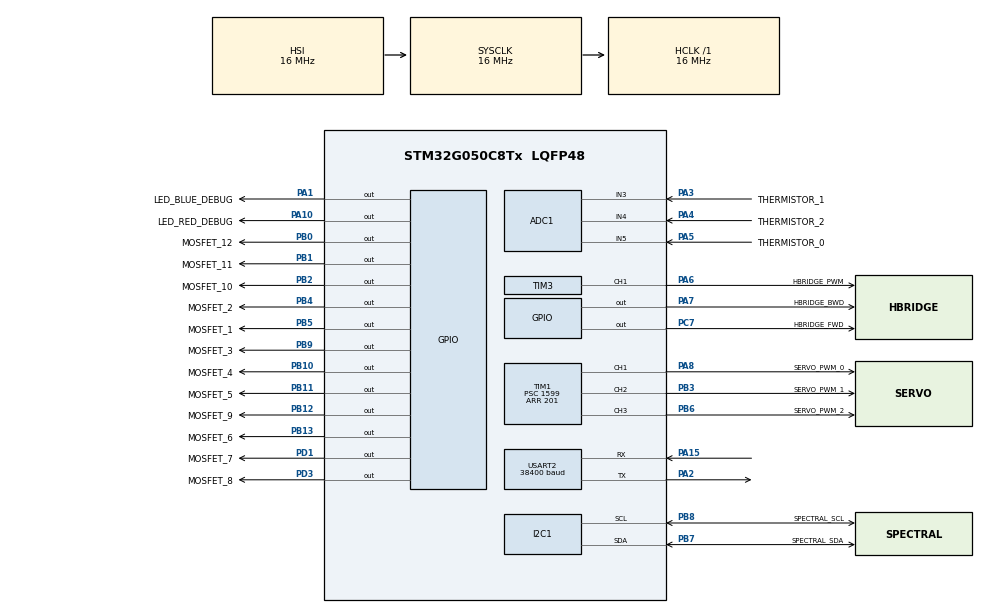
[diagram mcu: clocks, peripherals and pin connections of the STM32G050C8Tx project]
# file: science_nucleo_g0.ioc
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ADC1.Channel-0\#ChannelRegularConversion=ADC_CHANNEL_3
ADC1.Channel-1\#ChannelRegularConversion=ADC_CHANNEL_4
ADC1.Channel-2\#ChannelRegularConversion=ADC_CHANNEL_5
ADC1.ContinuousConvMode=DISABLE
ADC1.NbrOfConversion=3
ADC1.NbrOfConversionFlag=1
ADC1.Rank-0\#ChannelRegularConversion=1
ADC1.Rank-1\#ChannelRegularConversion=2
ADC1.Rank-2\#ChannelRegularConversion=3
ADC1.SamplingTime-0\#ChannelRegularConversion=ADC_SAMPLINGTIME_COMMON_1
ADC1.SamplingTime-1\#ChannelRegularConversion=ADC_SAMPLINGTIME_COMMON_1
ADC1.SamplingTime-2\#ChannelRegularConversion=ADC_SAMPLINGTIME_COMMON_1
ADC1.SelectedChannel=ADC_CHANNEL_3|ADC_CHANNEL_4|ADC_CHANNEL_5
ADC1.master=1
Dma.ADC1.0.Direction=DMA_PERIPH_TO_MEMORY
Dma.ADC1.0.EventEnable=DISABLE
Dma.ADC1.0.Instance=DMA1_Channel1
Dma.ADC1.0.MemDataAlignment=DMA_MDATAALIGN_WORD
Dma.ADC1.0.MemInc=DMA_MINC_ENABLE
Dma.ADC1.0.Mode=DMA_CIRCULAR
Dma.ADC1.0.PeriphDataAlignment=DMA_PDATAALIGN_WORD
Dma.ADC1.0.PeriphInc=DMA_PINC_DISABLE
Dma.ADC1.0.Polarity=HAL_DMAMUX_REQ_GEN_RISING
Dma.ADC1.0.Priority=DMA_PRIORITY_LOW
Dma.ADC1.0.RequestNumber=1
Dma.ADC1.0.SignalID=NONE
Dma.ADC1.0.SyncEnable=DISABLE
Dma.ADC1.0.SyncPolarity=HAL_DMAMUX_SYNC_NO_EVENT
Dma.ADC1.0.SyncRequestNumber=1
Dma.ADC1.0.SyncSignalID=NONE
Dma.Request0=ADC1
Mcu.Family=STM32G0
Mcu.Name=STM32G050C8Tx
Mcu.Package=LQFP48
NVIC.DMA1_Channel1_IRQn=true\:0\:0\:false\:false\:true\:false\:true\:true
NVIC.TIM6_IRQn=true\:0\:0\:false\:false\:true\:true\:true\:true
NVIC.USART2_IRQn=true\:0\:0\:false\:false\:true\:true\:true\:true
PA1.GPIO_Label=LED_BLUE_DEBUG
PA1.Signal=GPIO_Output
PA10.GPIO_Label=LED_RED_DEBUG
PA10.Signal=GPIO_Output
PA13.Mode=Serial_Wire
PA13.Signal=SYS_SWDIO
PA14-BOOT0.Mode=Serial_Wire
PA14-BOOT0.Signal=SYS_SWCLK
PA15.Mode=Asynchronous
PA15.Signal=USART2_RX
PA2.Mode=Asynchronous
PA2.Signal=USART2_TX
PA3.GPIO_Label=THERMISTOR_1
PA3.Mode=IN3
PA3.Signal=ADC1_IN3
PA4.GPIO_Label=THERMISTOR_2
PA4.Mode=IN4
PA4.Signal=ADC1_IN4
PA5.GPIO_Label=THERMISTOR_0
PA5.Mode=IN5
PA5.Signal=ADC1_IN5
PA6.GPIO_Label=HBRIDGE_PWM
PA6.Signal=S_TIM3_CH1
PA7.GPIO_Label=HBRIDGE_BWD
PA7.Signal=GPIO_Output
PA8.GPIO_Label=SERVO_PWM_0
PA8.Signal=S_TIM1_CH1
PB0.GPIO_Label=MOSFET_12
PB0.Signal=GPIO_Output
PB1.GPIO_Label=MOSFET_11
PB1.Signal=GPIO_Output
PB10.GPIO_Label=MOSFET_4
PB10.Signal=GPIO_Output
PB11.GPIO_Label=MOSFET_5
PB11.Signal=GPIO_Output
PB12.GPIO_Label=MOSFET_9
PB12.Signal=GPIO_Output
PB13.GPIO_Label=MOSFET_6
PB13.Signal=GPIO_Output
PB2.GPIO_Label=MOSFET_10
PB2.Signal=GPIO_Output
PB3.GPIO_Label=SERVO_PWM_1
PB3.Signal=S_TIM1_CH2
PB4.GPIO_Label=MOSFET_2
PB4.Signal=GPIO_Output
PB5.GPIO_Label=MOSFET_1
PB5.Signal=GPIO_Output
PB6.GPIO_Label=SERVO_PWM_2
PB6.Signal=S_TIM1_CH3
PB7.GPIO_Label=SPECTRAL_SDA
PB7.Mode=I2C
PB7.Signal=I2C1_SDA
PB8.GPIO_Label=SPECTRAL_SCL
PB8.Mode=I2C
PB8.Signal=I2C1_SCL
PB9.GPIO_Label=MOSFET_3
PB9.Signal=GPIO_Output
PC7.GPIO_Label=HBRIDGE_FWD
PC7.Signal=GPIO_Output
PD1.GPIO_Label=MOSFET_7
PD1.Signal=GPIO_Output
PD3.GPIO_Label=MOSFET_8
PD3.Signal=GPIO_Output
ProjectManager.HeapSize=0x200
ProjectManager.StackSize=0x400
ProjectManager.TargetToolchain=STM32CubeIDE
RCC.AHBFreq_Value=16000000
RCC.CortexFreq_Value=16000000
RCC.EXTERNAL_CLOCK_VALUE=48000
RCC.HCLKFreq_Value=16000000
RCC.HSE_VALUE=8000000
RCC.HSI_VALUE=16000000
RCC.LSE_VALUE=32768
RCC.SYSCLKFreq_VALUE=16000000
RCC.VCOOutputFreq_Value=128000000
SH.S_TIM1_CH1.0=TIM1_CH1,PWM Generation1 CH1
SH.S_TIM1_CH2.0=TIM1_CH2,PWM Generation2 CH2
SH.S_TIM1_CH3.0=TIM1_CH3,PWM Generation3 CH3
SH.S_TIM3_CH1.0=TIM3_CH1,PWM Generation1 CH1
TIM1.AutoReloadPreload=TIM_AUTORELOAD_PRELOAD_ENABLE
TIM1.Channel-PWM\ Generation1\ CH1=TIM_CHANNEL_1
TIM1.Channel-PWM\ Generation2\ CH2=TIM_CHANNEL_2
TIM1.Channel-PWM\ Generation3\ CH3=TIM_CHANNEL_3
TIM1.Period=201
TIM1.Prescaler=1599
TIM3.AutoReloadPreload=TIM_AUTORELOAD_PRELOAD_ENABLE
TIM3.Channel-PWM\ Generation1\ CH1=TIM_CHANNEL_1
TIM3.Period=159
TIM3.Prescaler=3
TIM6.Period=1000
TIM6.Prescaler=15
USART2.BaudRate=38400
USART2.VirtualMode-Asynchronous=VM_ASYNC
VP_SYS_VS_DBSignals.Mode=DisableDeadBatterySignals
VP_TIM6_VS_ClockSourceINT.Mode=Enable_Timer
board=custom

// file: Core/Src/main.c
/* USER CODE BEGIN Header */
/**
  ******************************************************************************
  * @file           : main.c
  * @brief          : Main program body
  ******************************************************************************
  * @attention
  *
  * <h2><center>&copy; Copyright (c) 2021 STMicroelectronics.
  * All rights reserved.</center></h2>
  *
  * This software component is licensed by ST under BSD 3-Clause license,
  * the "License"; You may not use this file except in compliance with the
  * License. You may obtain a copy of the License at:
  *                        opensource.org/licenses/BSD-3-Clause
  *
  ******************************************************************************
  */
/* USER CODE END Header */
#include "main.h"

/* USER CODE BEGIN Includes */
#include "main_loop.h"
#include "main_preloop.h"
/* USER CODE END Includes */

 ADC_HandleTypeDef hadc1;
DMA_HandleTypeDef hdma_adc1;

I2C_HandleTypeDef hi2c1;

TIM_HandleTypeDef htim1;
TIM_HandleTypeDef htim3;
TIM_HandleTypeDef htim6;

UART_HandleTypeDef huart2;

/* USER CODE BEGIN PV */
HAL_StatusTypeDef ret;

#define HBRIDGE_TIMER &htim3;

#define JETSON_UART &huart2

//Global buffer for receiving UART commands
volatile uint8_t Rx_data[30];

//Global buffer of the last received command.
volatile uint8_t message[30];

/* USER CODE END PV */

void SystemClock_Config(void);
static void MX_GPIO_Init(void);
static void MX_DMA_Init(void);
static void MX_ADC1_Init(void);
static void MX_I2C1_Init(void);
static void MX_TIM1_Init(void);
static void MX_TIM3_Init(void);
static void MX_USART2_UART_Init(void);
static void MX_TIM6_Init(void);
/* USER CODE BEGIN PFP */

// Clears the ORE and NE flags from the uart handler with delay
// TODO add better explanation why
void clear_flags();

/* USER CODE END PFP */

/* USER CODE BEGIN 0 */

//Callback to be called after HAL_UART_RECEIVE_IT finishes getting data
void HAL_UART_RxCpltCallback(UART_HandleTypeDef *huart){
	// Disable Interrupts
	HAL_NVIC_DisableIRQ(USART2_IRQn);

	// Copy the receive buffer into the command buffer.
	memcpy(message, Rx_data, sizeof(message));
	// Save the last command
	// Enable Interrupts
	HAL_NVIC_EnableIRQ(USART2_IRQn);
	ret = HAL_UART_Receive_IT(JETSON_UART, Rx_data, 30);

	clear_flags();
//	__HAL_UART_CLEAR_FLAG(JETSON_UART, UART_CLEAR_OREF);
	//__HAL_UART_SEND_REQ(JETSON_UART, UART_RXDATA_FLUSH_REQUEST);

	if (ret != HAL_OK) {
		Error_Handler();
		HAL_UART_Abort_IT(&huart2);
	    SET_BIT(huart2.Instance->CR3, USART_CR3_EIE);
	    //This flag no longer exists
	    //SET_BIT(huart1.Instance->CR1, USART_CR1_PEIE | USART_CR1_RXNEIE);

	    ret = HAL_UART_Receive_IT(JETSON_UART, Rx_data, 30);
	}
	HAL_NVIC_ClearPendingIRQ(USART2_IRQn);

#ifdef MOSFET_ENABLE
	int device = -1;
	int enable = -1;
	if(message[1] == 'M')
	{
		receive_mosfet_cmd(message,&device,&enable,mosfet_copy);
		int d_m = device;

		if(d_m>=0 && d_m<=MOSFET_DEVICE_NUM)
		{
		  switch(d_m){
			  case HEATER_0 :
				  if (!(auto_shutoff && curr_temps[INDEX_OF_THERMISTOR_0] >= max_temp)) {
					  heater_state_0 = enable;
					  enable_pin(heater_state_0, port_array[d_m], pin_array[d_m]);
				  }
				  send_heater_info = 1;
				  break;
			  case HEATER_1 :
				  if (!(auto_shutoff && curr_temps[INDEX_OF_THERMISTOR_1] >= max_temp)) {
					  heater_state_1 = enable;
					  enable_pin(heater_state_1, port_array[d_m], pin_array[d_m]);
				  }
				  send_heater_info = 1;
				  break;
			  case HEATER_2 :
				  if (!(auto_shutoff && curr_temps[INDEX_OF_THERMISTOR_2] >= max_temp)) {
					  heater_state_2 = enable;
					  enable_pin(heater_state_2, port_array[d_m], pin_array[d_m]);
				  }
				  send_heater_info = 1;
				  break;
			  default:
				  enable_pin(enable, port_array[d_m], pin_array[d_m]);
		  }
		}
	}
	else if(message[1] == 'A')
	{
		receive_auto_shutoff_cmd(message,&auto_shutoff,auto_shut_copy);
		send_shutoff_info = 1;
	}
	else if(message[1] == 'L')
	{
		enable_pin(DISABLED, port_array[RED_LED], pin_array[RED_LED]);
		enable_pin(DISABLED, port_array[GREEN_LED], pin_array[GREEN_LED]);
		enable_pin(DISABLED, port_array[BLUE_LED], pin_array[BLUE_LED]);
		green_on = DISABLED;
		ms_tick = 0;

		receive_led_cmd(message,&led_state,auto_shut_copy);
		switch (led_state) {
		case RED_STATE:
			enable_pin(ENABLED, port_array[RED_LED], pin_array[RED_LED]);
			break;
		case GREEN_STATE:
			green_on = ENABLED;
			enable_pin(ENABLED, port_array[GREEN_LED], pin_array[GREEN_LED]);
			break;
		case BLUE_STATE:
			enable_pin(ENABLED, port_array[BLUE_LED], pin_array[BLUE_LED]);
			break;
		case NONE_STATE:
		default:
			break;
		}
	}
#endif

#ifdef SERVO_ENABLE
	int angles[3] = { -1, -1, -1 };
	if(message[1] == 'S')
	{
		receive_servo_cmd(message,&angles[0],&angles[1],&angles[2], servo_copy);
		write_angle(angles[DEVICE_OF_SERVO_0], 0);
		write_angle(angles[DEVICE_OF_SERVO_1], 1);
		write_angle(angles[DEVICE_OF_SERVO_2], 2);
	}
#endif

#ifdef HBRIDGE_MOTOR_ENABLE

	if(message[1] == 'C'){
		openloop_enabled = DISABLED;
		receive_hbridge_cmd(message);
		handle_new_pos();
	}
	else if (message[1] == 'O') {
		openloop_enabled = ENABLED;
		receive_carousel_openloop_cmd(message);
	}
#endif
}

void HAL_UART_TxCpltCallback(UART_HandleTypeDef *huart) {

}

// Clears the ORE and NE flags from the uart handler with delay
// TODO add better explanation why
void clear_flags(){
	__HAL_UART_CLEAR_OREFLAG(JETSON_UART);
	__HAL_UART_CLEAR_NEFLAG(JETSON_UART);
}

void HAL_TIM_PeriodElapsedCallback(TIM_HandleTypeDef * htim){
	if (htim == &htim6) {
		LED_tick();
	}
}

/* USER CODE END 0 */

int main(void)
{

  /* MCU Configuration--------------------------------------------------------*/

  /* Reset of all peripherals, Initializes the Flash interface and the Systick. */
  HAL_Init();

  /* Configure the system clock */
  SystemClock_Config();

  /* Initialize all configured peripherals */
  MX_GPIO_Init();
  MX_DMA_Init();
  MX_ADC1_Init();
  MX_I2C1_Init();
  MX_TIM1_Init();
  MX_TIM3_Init();
  MX_USART2_UART_Init();
  MX_TIM6_Init();
  /* USER CODE BEGIN 2 */

  main_preloop();
  //uint32_t value[3];
  /* USER CODE END 2 */

  /* Infinite loop */
  while (1)
  {

    /* USER CODE BEGIN 3 */
//	  clear_flags();
	  main_loop();

  }
  /* USER CODE END 3 */
}

void SystemClock_Config(void)
{
  RCC_OscInitTypeDef RCC_OscInitStruct = {0};
  RCC_ClkInitTypeDef RCC_ClkInitStruct = {0};

  /** Configure the main internal regulator output voltage
  */
  HAL_PWREx_ControlVoltageScaling(PWR_REGULATOR_VOLTAGE_SCALE1);

  /** Initializes the RCC Oscillators according to the specified parameters
  * in the RCC_OscInitTypeDef structure.
  */
  RCC_OscInitStruct.OscillatorType = RCC_OSCILLATORTYPE_HSI;
  RCC_OscInitStruct.HSIState = RCC_HSI_ON;
  RCC_OscInitStruct.HSIDiv = RCC_HSI_DIV1;
  RCC_OscInitStruct.HSICalibrationValue = RCC_HSICALIBRATION_DEFAULT;
  RCC_OscInitStruct.PLL.PLLState = RCC_PLL_NONE;
  if (HAL_RCC_OscConfig(&RCC_OscInitStruct) != HAL_OK)
  {
    Error_Handler();
  }

  /** Initializes the CPU, AHB and APB buses clocks
  */
  RCC_ClkInitStruct.ClockType = RCC_CLOCKTYPE_HCLK|RCC_CLOCKTYPE_SYSCLK
                              |RCC_CLOCKTYPE_PCLK1;
  RCC_ClkInitStruct.SYSCLKSource = RCC_SYSCLKSOURCE_HSI;
  RCC_ClkInitStruct.AHBCLKDivider = RCC_SYSCLK_DIV1;
  RCC_ClkInitStruct.APB1CLKDivider = RCC_HCLK_DIV1;

  if (HAL_RCC_ClockConfig(&RCC_ClkInitStruct, FLASH_LATENCY_0) != HAL_OK)
  {
    Error_Handler();
  }
}

static void MX_ADC1_Init(void)
{

  ADC_ChannelConfTypeDef sConfig = {0};

  /** Configure the global features of the ADC (Clock, Resolution, Data Alignment and number of conversion)
  */
  hadc1.Instance = ADC1;
  hadc1.Init.ClockPrescaler = ADC_CLOCK_SYNC_PCLK_DIV2;
  hadc1.Init.Resolution = ADC_RESOLUTION_12B;
  hadc1.Init.DataAlign = ADC_DATAALIGN_RIGHT;
  hadc1.Init.ScanConvMode = ADC_SCAN_ENABLE;
  hadc1.Init.EOCSelection = ADC_EOC_SINGLE_CONV;
  hadc1.Init.LowPowerAutoWait = DISABLE;
  hadc1.Init.LowPowerAutoPowerOff = DISABLE;
  hadc1.Init.ContinuousConvMode = DISABLE;
  hadc1.Init.NbrOfConversion = 3;
  hadc1.Init.DiscontinuousConvMode = ENABLE;
  hadc1.Init.ExternalTrigConv = ADC_SOFTWARE_START;
  hadc1.Init.ExternalTrigConvEdge = ADC_EXTERNALTRIGCONVEDGE_NONE;
  hadc1.Init.DMAContinuousRequests = DISABLE;
  hadc1.Init.Overrun = ADC_OVR_DATA_PRESERVED;
  hadc1.Init.SamplingTimeCommon1 = ADC_SAMPLETIME_1CYCLE_5;
  hadc1.Init.SamplingTimeCommon2 = ADC_SAMPLETIME_1CYCLE_5;
  hadc1.Init.OversamplingMode = DISABLE;
  hadc1.Init.TriggerFrequencyMode = ADC_TRIGGER_FREQ_HIGH;
  if (HAL_ADC_Init(&hadc1) != HAL_OK)
  {
    Error_Handler();
  }

  /** Configure Regular Channel
  */
  sConfig.Channel = ADC_CHANNEL_3;
  sConfig.Rank = ADC_REGULAR_RANK_1;
  sConfig.SamplingTime = ADC_SAMPLINGTIME_COMMON_1;
  if (HAL_ADC_ConfigChannel(&hadc1, &sConfig) != HAL_OK)
  {
    Error_Handler();
  }

  /** Configure Regular Channel
  */
  sConfig.Channel = ADC_CHANNEL_4;
  sConfig.Rank = ADC_REGULAR_RANK_2;
  if (HAL_ADC_ConfigChannel(&hadc1, &sConfig) != HAL_OK)
  {
    Error_Handler();
  }

  /** Configure Regular Channel
  */
  sConfig.Channel = ADC_CHANNEL_5;
  sConfig.Rank = ADC_REGULAR_RANK_3;
  if (HAL_ADC_ConfigChannel(&hadc1, &sConfig) != HAL_OK)
  {
    Error_Handler();
  }

}

static void MX_I2C1_Init(void)
{

  hi2c1.Instance = I2C1;
  hi2c1.Init.Timing = 0x00303D5B;
  hi2c1.Init.OwnAddress1 = 0;
  hi2c1.Init.AddressingMode = I2C_ADDRESSINGMODE_7BIT;
  hi2c1.Init.DualAddressMode = I2C_DUALADDRESS_DISABLE;
  hi2c1.Init.OwnAddress2 = 0;
  hi2c1.Init.OwnAddress2Masks = I2C_OA2_NOMASK;
  hi2c1.Init.GeneralCallMode = I2C_GENERALCALL_DISABLE;
  hi2c1.Init.NoStretchMode = I2C_NOSTRETCH_DISABLE;
  if (HAL_I2C_Init(&hi2c1) != HAL_OK)
  {
    Error_Handler();
  }

  /** Configure Analogue filter
  */
  if (HAL_I2CEx_ConfigAnalogFilter(&hi2c1, I2C_ANALOGFILTER_ENABLE) != HAL_OK)
  {
    Error_Handler();
  }

  /** Configure Digital filter
  */
  if (HAL_I2CEx_ConfigDigitalFilter(&hi2c1, 0) != HAL_OK)
  {
    Error_Handler();
  }

}

static void MX_TIM1_Init(void)
{

  TIM_MasterConfigTypeDef sMasterConfig = {0};
  TIM_OC_InitTypeDef sConfigOC = {0};
  TIM_BreakDeadTimeConfigTypeDef sBreakDeadTimeConfig = {0};

  htim1.Instance = TIM1;
  htim1.Init.Prescaler = 1599;
  htim1.Init.CounterMode = TIM_COUNTERMODE_UP;
  htim1.Init.Period = 201;
  htim1.Init.ClockDivision = TIM_CLOCKDIVISION_DIV1;
  htim1.Init.RepetitionCounter = 0;
  htim1.Init.AutoReloadPreload = TIM_AUTORELOAD_PRELOAD_ENABLE;
  if (HAL_TIM_PWM_Init(&htim1) != HAL_OK)
  {
    Error_Handler();
  }
  sMasterConfig.MasterOutputTrigger = TIM_TRGO_RESET;
  sMasterConfig.MasterOutputTrigger2 = TIM_TRGO2_RESET;
  sMasterConfig.MasterSlaveMode = TIM_MASTERSLAVEMODE_DISABLE;
  if (HAL_TIMEx_MasterConfigSynchronization(&htim1, &sMasterConfig) != HAL_OK)
  {
    Error_Handler();
  }
  sConfigOC.OCMode = TIM_OCMODE_PWM1;
  sConfigOC.Pulse = 0;
  sConfigOC.OCPolarity = TIM_OCPOLARITY_HIGH;
  sConfigOC.OCNPolarity = TIM_OCNPOLARITY_HIGH;
  sConfigOC.OCFastMode = TIM_OCFAST_DISABLE;
  sConfigOC.OCIdleState = TIM_OCIDLESTATE_RESET;
  sConfigOC.OCNIdleState = TIM_OCNIDLESTATE_RESET;
  if (HAL_TIM_PWM_ConfigChannel(&htim1, &sConfigOC, TIM_CHANNEL_1) != HAL_OK)
  {
    Error_Handler();
  }
  if (HAL_TIM_PWM_ConfigChannel(&htim1, &sConfigOC, TIM_CHANNEL_2) != HAL_OK)
  {
    Error_Handler();
  }
  if (HAL_TIM_PWM_ConfigChannel(&htim1, &sConfigOC, TIM_CHANNEL_3) != HAL_OK)
  {
    Error_Handler();
  }
  sBreakDeadTimeConfig.OffStateRunMode = TIM_OSSR_DISABLE;
  sBreakDeadTimeConfig.OffStateIDLEMode = TIM_OSSI_DISABLE;
  sBreakDeadTimeConfig.LockLevel = TIM_LOCKLEVEL_OFF;
  sBreakDeadTimeConfig.DeadTime = 0;
  sBreakDeadTimeConfig.BreakState = TIM_BREAK_DISABLE;
  sBreakDeadTimeConfig.BreakPolarity = TIM_BREAKPOLARITY_HIGH;
  sBreakDeadTimeConfig.BreakFilter = 0;
  sBreakDeadTimeConfig.BreakAFMode = TIM_BREAK_AFMODE_INPUT;
  sBreakDeadTimeConfig.Break2State = TIM_BREAK2_DISABLE;
  sBreakDeadTimeConfig.Break2Polarity = TIM_BREAK2POLARITY_HIGH;
  sBreakDeadTimeConfig.Break2Filter = 0;
  sBreakDeadTimeConfig.Break2AFMode = TIM_BREAK_AFMODE_INPUT;
  sBreakDeadTimeConfig.AutomaticOutput = TIM_AUTOMATICOUTPUT_DISABLE;
  if (HAL_TIMEx_ConfigBreakDeadTime(&htim1, &sBreakDeadTimeConfig) != HAL_OK)
  {
    Error_Handler();
  }
  HAL_TIM_MspPostInit(&htim1);

}

static void MX_TIM3_Init(void)
{

  TIM_MasterConfigTypeDef sMasterConfig = {0};
  TIM_OC_InitTypeDef sConfigOC = {0};

  htim3.Instance = TIM3;
  htim3.Init.Prescaler = 3;
  htim3.Init.CounterMode = TIM_COUNTERMODE_UP;
  htim3.Init.Period = 159;
  htim3.Init.ClockDivision = TIM_CLOCKDIVISION_DIV1;
  htim3.Init.AutoReloadPreload = TIM_AUTORELOAD_PRELOAD_ENABLE;
  if (HAL_TIM_PWM_Init(&htim3) != HAL_OK)
  {
    Error_Handler();
  }
  sMasterConfig.MasterOutputTrigger = TIM_TRGO_RESET;
  sMasterConfig.MasterSlaveMode = TIM_MASTERSLAVEMODE_DISABLE;
  if (HAL_TIMEx_MasterConfigSynchronization(&htim3, &sMasterConfig) != HAL_OK)
  {
    Error_Handler();
  }
  sConfigOC.OCMode = TIM_OCMODE_PWM1;
  sConfigOC.Pulse = 0;
  sConfigOC.OCPolarity = TIM_OCPOLARITY_HIGH;
  sConfigOC.OCFastMode = TIM_OCFAST_DISABLE;
  if (HAL_TIM_PWM_ConfigChannel(&htim3, &sConfigOC, TIM_CHANNEL_1) != HAL_OK)
  {
    Error_Handler();
  }
  HAL_TIM_MspPostInit(&htim3);

}

static void MX_TIM6_Init(void)
{

  TIM_MasterConfigTypeDef sMasterConfig = {0};

  htim6.Instance = TIM6;
  htim6.Init.Prescaler = 15;
  htim6.Init.CounterMode = TIM_COUNTERMODE_UP;
  htim6.Init.Period = 1000;
  htim6.Init.AutoReloadPreload = TIM_AUTORELOAD_PRELOAD_DISABLE;
  if (HAL_TIM_Base_Init(&htim6) != HAL_OK)
  {
    Error_Handler();
  }
  sMasterConfig.MasterOutputTrigger = TIM_TRGO_RESET;
  sMasterConfig.MasterSlaveMode = TIM_MASTERSLAVEMODE_DISABLE;
  if (HAL_TIMEx_MasterConfigSynchronization(&htim6, &sMasterConfig) != HAL_OK)
  {
    Error_Handler();
  }

}

static void MX_USART2_UART_Init(void)
{

  huart2.Instance = USART2;
  huart2.Init.BaudRate = 38400;
  huart2.Init.WordLength = UART_WORDLENGTH_8B;
  huart2.Init.StopBits = UART_STOPBITS_1;
  huart2.Init.Parity = UART_PARITY_NONE;
  huart2.Init.Mode = UART_MODE_TX_RX;
  huart2.Init.HwFlowCtl = UART_HWCONTROL_NONE;
  huart2.Init.OverSampling = UART_OVERSAMPLING_16;
  huart2.Init.OneBitSampling = UART_ONE_BIT_SAMPLE_DISABLE;
  huart2.Init.ClockPrescaler = UART_PRESCALER_DIV1;
  huart2.AdvancedInit.AdvFeatureInit = UART_ADVFEATURE_NO_INIT;
  if (HAL_UART_Init(&huart2) != HAL_OK)
  {
    Error_Handler();
  }

}

static void MX_DMA_Init(void)
{

  /* DMA controller clock enable */
  __HAL_RCC_DMA1_CLK_ENABLE();

  /* DMA interrupt init */
  /* DMA1_Channel1_IRQn interrupt configuration */
  HAL_NVIC_SetPriority(DMA1_Channel1_IRQn, 0, 0);
  HAL_NVIC_EnableIRQ(DMA1_Channel1_IRQn);

}

static void MX_GPIO_Init(void)
{
  GPIO_InitTypeDef GPIO_InitStruct = {0};

  /* GPIO Ports Clock Enable */
  __HAL_RCC_GPIOA_CLK_ENABLE();
  __HAL_RCC_GPIOB_CLK_ENABLE();
  __HAL_RCC_GPIOC_CLK_ENABLE();
  __HAL_RCC_GPIOD_CLK_ENABLE();

  /*Configure GPIO pin Output Level */
  HAL_GPIO_WritePin(GPIOA, LED_BLUE_DEBUG_Pin|HBRIDGE_BWD_Pin|LED_RED_DEBUG_Pin, GPIO_PIN_RESET);

  /*Configure GPIO pin Output Level */
  HAL_GPIO_WritePin(GPIOB, MOSFET_12_Pin|MOSFET_11_Pin|MOSFET_10_Pin|MOSFET_4_Pin
                          |MOSFET_5_Pin|MOSFET_9_Pin|MOSFET_6_Pin|MOSFET_2_Pin
                          |MOSFET_1_Pin|MOSFET_3_Pin, GPIO_PIN_RESET);

  /*Configure GPIO pin Output Level */
  HAL_GPIO_WritePin(HBRIDGE_FWD_GPIO_Port, HBRIDGE_FWD_Pin, GPIO_PIN_RESET);

  /*Configure GPIO pin Output Level */
  HAL_GPIO_WritePin(GPIOD, MOSFET_7_Pin|MOSFET_8_Pin, GPIO_PIN_RESET);

  /*Configure GPIO pins : LED_BLUE_DEBUG_Pin HBRIDGE_BWD_Pin LED_RED_DEBUG_Pin */
  GPIO_InitStruct.Pin = LED_BLUE_DEBUG_Pin|HBRIDGE_BWD_Pin|LED_RED_DEBUG_Pin;
  GPIO_InitStruct.Mode = GPIO_MODE_OUTPUT_PP;
  GPIO_InitStruct.Pull = GPIO_NOPULL;
  GPIO_InitStruct.Speed = GPIO_SPEED_FREQ_LOW;
  HAL_GPIO_Init(GPIOA, &GPIO_InitStruct);

  /*Configure GPIO pins : MOSFET_12_Pin MOSFET_11_Pin MOSFET_10_Pin MOSFET_4_Pin
                           MOSFET_5_Pin MOSFET_9_Pin MOSFET_6_Pin MOSFET_2_Pin
                           MOSFET_1_Pin MOSFET_3_Pin */
  GPIO_InitStruct.Pin = MOSFET_12_Pin|MOSFET_11_Pin|MOSFET_10_Pin|MOSFET_4_Pin
                          |MOSFET_5_Pin|MOSFET_9_Pin|MOSFET_6_Pin|MOSFET_2_Pin
                          |MOSFET_1_Pin|MOSFET_3_Pin;
  GPIO_InitStruct.Mode = GPIO_MODE_OUTPUT_PP;
  GPIO_InitStruct.Pull = GPIO_NOPULL;
  GPIO_InitStruct.Speed = GPIO_SPEED_FREQ_LOW;
  HAL_GPIO_Init(GPIOB, &GPIO_InitStruct);

  /*Configure GPIO pin : HBRIDGE_FWD_Pin */
  GPIO_InitStruct.Pin = HBRIDGE_FWD_Pin;
  GPIO_InitStruct.Mode = GPIO_MODE_OUTPUT_PP;
  GPIO_InitStruct.Pull = GPIO_NOPULL;
  GPIO_InitStruct.Speed = GPIO_SPEED_FREQ_LOW;
  HAL_GPIO_Init(HBRIDGE_FWD_GPIO_Port, &GPIO_InitStruct);

  /*Configure GPIO pins : MOSFET_7_Pin MOSFET_8_Pin */
  GPIO_InitStruct.Pin = MOSFET_7_Pin|MOSFET_8_Pin;
  GPIO_InitStruct.Mode = GPIO_MODE_OUTPUT_PP;
  GPIO_InitStruct.Pull = GPIO_NOPULL;
  GPIO_InitStruct.Speed = GPIO_SPEED_FREQ_LOW;
  HAL_GPIO_Init(GPIOD, &GPIO_InitStruct);

}

void Error_Handler(void)
{
  __disable_irq();
  while (1)
  {
  }
}
